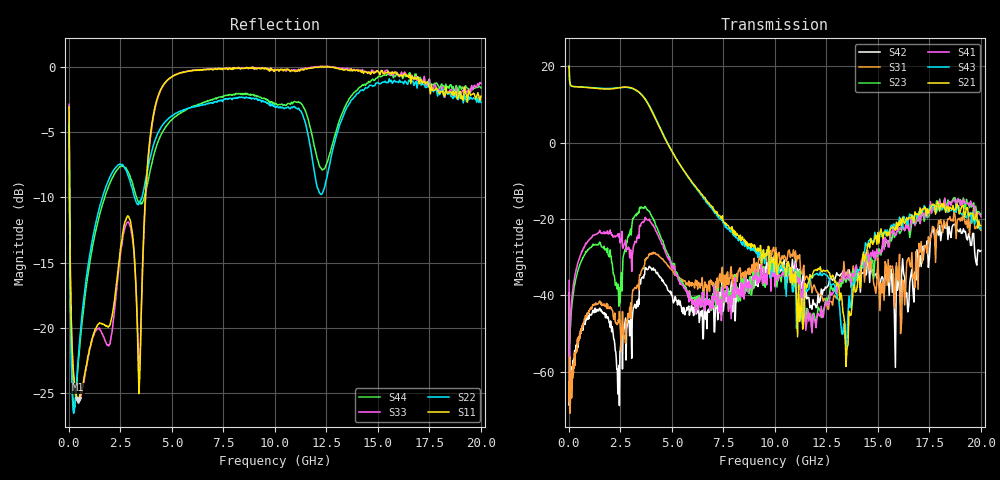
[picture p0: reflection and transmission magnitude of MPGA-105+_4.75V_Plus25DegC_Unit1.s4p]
!Mini-Circuits Laboratory
!S-Parameters
!Model: MPGA-105+
!Run / Lot / Date Code: NA / BP384P001-05 / 1348
!Fixture: NA; TB-561+
!AUTO PORT EXTENSION DONE: PORT<1>=113.35ps; PORT<2>=112.76ps; PORT<3>=112.16ps; PORT<4>=112.11ps
!Network Analyzer: PNA-X N5242A - 423 4 ports;  Serial number: 71256
!Date: 2/15/2014
!S/N: Unit# 1
!Correction: S11(Full 4 Port(1,2,3,4))
!S12(Full 4 Port(1,2,3,4))
!S13(Full 4 Port(1,2,3,4))
!S14(Full 4 Port(1,2,3,4))
!S21(Full 4 Port(1,2,3,4))
!S22(Full 4 Port(1,2,3,4))
!S23(Full 4 Port(1,2,3,4))
!S24(Full 4 Port(1,2,3,4))
!S31(Full 4 Port(1,2,3,4))
!S32(Full 4 Port(1,2,3,4))
!S33(Full 4 Port(1,2,3,4))
!S34(Full 4 Port(1,2,3,4))
!S41(Full 4 Port(1,2,3,4))
!S42(Full 4 Port(1,2,3,4))
!S43(Full 4 Port(1,2,3,4))
!S44(Full 4 Port(1,2,3,4))
!S4P File: Measurements: <S11,S12,S13,S14>,
!<S21,S22,S23,S24>,
!<S31,S32,S33,S34>,
!<S41,S42,S43,S44>:
# Hz S  dB  R 50
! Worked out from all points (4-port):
!   660 points, 10 MHz to 20 GHz, reference 50 ohm
!   strongest paths, dB at 10 MHz, 2.65 GHz, 6.775 GHz, 11.8 GHz, 20 GHz:
!     S21: 20.0, 14.6, -15.8, -35.5, -21.8
!     S43: 20.0, 14.5, -16.2, -35.3, -22.3
!     S41: -36.1, -27.1, -42.5, -49.9, -19.4
!     S23: -40.2, -29.6, -41.4, -49.5, -18.8
!     S31: -44.8, -50.0, -37.4, -39.3, -23.0
!     S42: -39.3, -50.3, -43.7, -43.7, -28.3
!   lowest |S11| = -25.5 dB at 430 MHz (marker M1), VSWR 1.11, Z = 47.7 - j4.68 ohm
!   |S11| at or under -10 dB: 33.81 MHz to 3.708 GHz (3.674 GHz wide, 196 % of centre)
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1e7  -3.05 -38.2  -22.26 47.1  -47.08 -141.9  -47.33 -158.1
     19.99 159.0  -4.37 -41.2  -40.22 -162.4  -39.00 -155.9
     -44.77 65.6  -47.73 21.2  -2.86 -39.1  -22.84 49.6
     -36.11 71.1  -39.29 23.4  20.04 160.0  -4.19 -43.3
4.3e8  -25.49 -113.0  -18.92 -17.7  -56.40 110.8  -70.01 131.9
       14.61 149.1  -22.74 128.9  -33.73 46.6  -54.02 90.2
       -52.08 93.6  -74.04 -71.3  -25.56 -112.9  -18.89 -18.0
       -31.63 47.0  -53.73 82.5  14.63 149.0  -23.21 134.9
1.525e9  -19.65 77.1  -20.45 -67.4  -42.45 70.7  -59.58 103.3
         14.13 78.4  -10.54 64.9  -26.50 -64.6  -42.81 52.7
         -41.71 45.3  -61.13 115.4  -20.18 80.8  -20.44 -68.4
         -23.48 -58.1  -43.60 31.1  14.25 77.6  -11.10 63.7
2.65e9  -12.37 -154.5  -28.10 -150.4  -49.63 51.4  -62.29 60.3
        14.56 -1.2  -7.58 -10.4  -29.62 -24.4  -45.43 -33.8
        -50.00 -96.7  -57.25 87.5  -12.77 -156.7  -27.85 -148.7
        -27.09 -139.0  -50.27 -160.8  14.53 -3.8  -7.62 -14.8
3.325e9  -20.16 120.5  -23.42 -31.6  -48.50 -148.1  -56.98 -118.3
         13.54 -67.3  -10.54 -101.8  -18.68 -125.1  -36.78 -165.8
         -37.61 160.9  -59.56 147.9  -19.61 124.3  -24.15 -35.4
         -24.93 -145.7  -41.79 174.0  13.49 -69.1  -10.18 -96.9
4e9  -4.67 171.3  -19.78 -111.9  -28.92 110.4  -43.01 115.8
     8.51 -135.8  -6.58 148.3  -19.09 121.2  -31.50 101.1
     -29.21 103.1  -45.18 111.2  -4.90 167.4  -19.84 -115.3
     -21.08 117.1  -32.96 107.6  8.74 -138.5  -7.56 147.1
2e10  -2.23 5.7  -21.76 -18.2  -23.06 75.6  -19.34 -71.5
      -21.76 -17.8  -2.71 -4.5  -18.76 -73.0  -28.29 113.5
      -22.96 75.2  -18.72 -73.6  -1.26 -16.9  -22.25 -17.2
      -19.35 -71.5  -28.34 112.3  -22.29 -17.1  -1.60 -20.7
